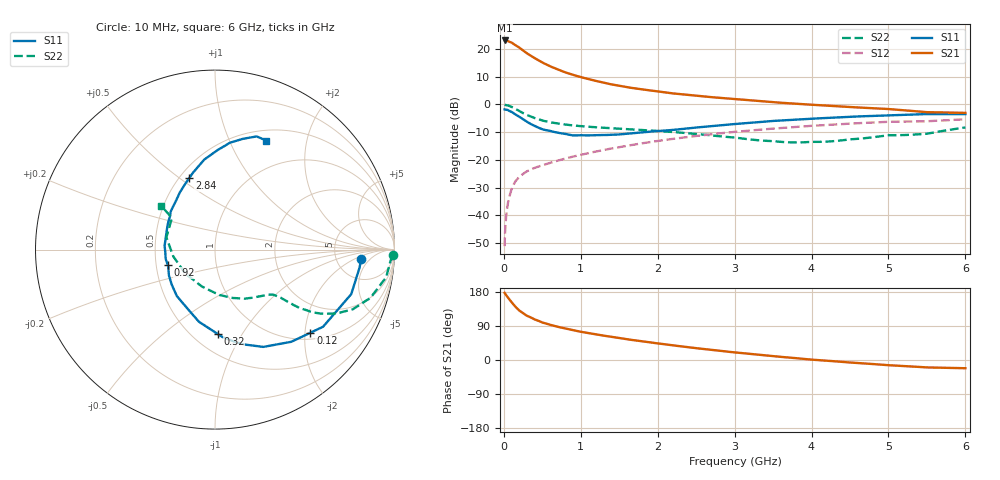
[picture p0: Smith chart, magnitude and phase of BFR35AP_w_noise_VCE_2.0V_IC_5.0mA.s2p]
! Infineon Technologies  Discrete & RF Semiconductors
! BFR35AP
! VCE =  2.0 V,  IC =  5.0 mA
! Common Emitter S-Parameters:  Nov 2015
# GHz  S  MA  R  50
!  f  S11  S21  S12  S22
! GHz  MAG  ANG  MAG  ANG  MAG  ANG  MAG  ANG
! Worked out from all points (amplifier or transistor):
!   210 points, 10 MHz to 6 GHz, reference 50 ohm
!   highest |S21| = 23.1 dB at 10 MHz (marker M1)
!   |S21| within 3 dB of that: start of sweep to 220.8 MHz
!   unconditionally stable (mu >= 1): 768.8 MHz to 3.992 GHz; 5.322 GHz to 5.814 GHz
!   at 185 MHz: K = 0.39, MSG = 23.7 dB, |S12| = -26.6 dB
!   at 1.52 GHz: K = 1.14, MAG = 8.6 dB, |S12| = -15.2 dB
!   at 6 GHz: K = 0.99, MSG = 1.2 dB, |S12| = -5.3 dB
!   lowest NFmin = 1.50 dB at 450 MHz
!   S11 on the Smith chart (normalised r, x): 10 MHz: 8.95, -2.91; 120 MHz: 1.16, -2.13; 320 MHz: 0.65, -0.79; 920 MHz: 0.58, -0.11; 2.84 GHz: 0.56, +0.54; 6 GHz: 0.63, +1.38
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0.01  0.8167 -3.8  14.24 177.2  0.0028 87.8  0.99 -1.8
0.025  0.8071 -9.1  14.01 172.5  0.008 82.0  0.9769 -4.6
0.05  0.7986 -18.1  13.96 165.5  0.0158 79.7  0.966 -9.2
0.1  0.7399 -35.5  13.07 152.3  0.0296 71.6  0.9065 -17.3
0.12  0.705 -41.1  12.47 147.8  0.0342 68.7  0.8775 -19.6
0.15  0.6666 -50.4  11.74 140.3  0.0412 65.6  0.837 -23.4
0.2  0.6053 -63.6  10.61 130.7  0.0495 61.2  0.7639 -27.8
0.26  0.5311 -77.0  9.177 121.8  0.0574 57.6  0.6877 -31.2
0.3  0.4885 -85.2  8.358 116.7  0.0625 56.5  0.6474 -32.7
0.32  0.47 -88.2  8.04 115.1  0.0644 56.0  0.6318 -33.1
0.4  0.4118 -102.6  6.846 107.1  0.0721 54.1  0.5697 -34.7
0.5  0.3584 -116.6  5.691 99.0  0.0803 53.8  0.5129 -35.5
0.7  0.3105 -140.8  4.276 87.6  0.0972 54.6  0.4542 -36.2
0.92  0.277 -162.0  3.35 77.7  0.1169 55.3  0.4168 -37.4
1.02  0.2787 -170.7  3.063 73.8  0.1254 55.6  0.4052 -38.2
1.4  0.2847 162.6  2.3 61.0  0.161 55.2  0.3752 -43.0
2.02  0.3337 134.8  1.697 43.3  0.2223 51.5  0.3314 -54.5
2.84  0.4236 109.8  1.304 23.6  0.3051 43.6  0.2648 -78.1
3.1  0.4551 104.2  1.215 18.1  0.33 40.3  0.2434 -88.9
4.1  0.5631 87.2  0.971 -0.4  0.4201 27.7  0.212 -147.2
5.1  0.6427 74.6  0.807 -14.8  0.4889 13.8  0.2793 161.3
6  0.6714 64.7  0.706 -21.7  0.5409 3.6  0.3862 140.7
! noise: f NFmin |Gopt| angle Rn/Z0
0.45  1.5  0.28  29  0.34
0.9  1.8  0.25  59  0.34
